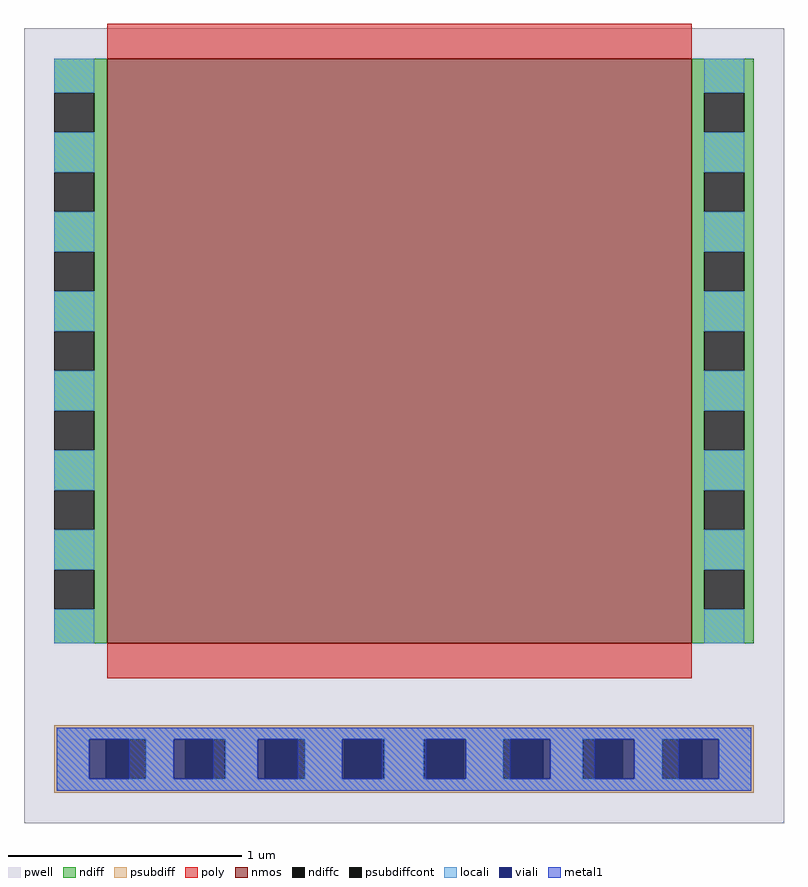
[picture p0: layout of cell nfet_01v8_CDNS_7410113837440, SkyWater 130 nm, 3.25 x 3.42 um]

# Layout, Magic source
magic
tech sky130A
magscale 1 2
<< pwell >>
rect -71 -154 579 526
<< nmos >>
rect 0 0 500 500
<< ndiff >>
rect -45 471 0 500
rect -11 437 0 471
rect -45 403 0 437
rect -11 369 0 403
rect -45 335 0 369
rect -11 301 0 335
rect -45 267 0 301
rect -11 233 0 267
rect -45 199 0 233
rect -11 165 0 199
rect -45 131 0 165
rect -11 97 0 131
rect -45 63 0 97
rect -11 29 0 63
rect -45 0 0 29
rect 500 471 553 500
rect 500 437 511 471
rect 545 437 553 471
rect 500 403 553 437
rect 500 369 511 403
rect 545 369 553 403
rect 500 335 553 369
rect 500 301 511 335
rect 545 301 553 335
rect 500 267 553 301
rect 500 233 511 267
rect 545 233 553 267
rect 500 199 553 233
rect 500 165 511 199
rect 545 165 553 199
rect 500 131 553 165
rect 500 97 511 131
rect 545 97 553 131
rect 500 63 553 97
rect 500 29 511 63
rect 545 29 553 63
rect 500 0 553 29
<< ndiffc >>
rect -45 437 -11 471
rect -45 369 -11 403
rect -45 301 -11 335
rect -45 233 -11 267
rect -45 165 -11 199
rect -45 97 -11 131
rect -45 29 -11 63
rect 511 437 545 471
rect 511 369 545 403
rect 511 301 545 335
rect 511 233 545 267
rect 511 165 545 199
rect 511 97 545 131
rect 511 29 545 63
<< psubdiff >>
rect -45 -82 553 -70
rect -45 -116 -1 -82
rect 33 -116 67 -82
rect 101 -116 135 -82
rect 169 -116 203 -82
rect 237 -116 271 -82
rect 305 -116 339 -82
rect 373 -116 407 -82
rect 441 -116 475 -82
rect 509 -116 553 -82
rect -45 -128 553 -116
<< psubdiffcont >>
rect -1 -116 33 -82
rect 67 -116 101 -82
rect 135 -116 169 -82
rect 203 -116 237 -82
rect 271 -116 305 -82
rect 339 -116 373 -82
rect 407 -116 441 -82
rect 475 -116 509 -82
<< poly >>
rect 0 500 500 530
rect 0 -30 500 0
<< locali >>
rect -45 471 -11 500
rect -45 403 -11 437
rect -45 335 -11 369
rect -45 267 -11 301
rect -45 199 -11 233
rect -45 131 -11 165
rect -45 63 -11 97
rect -45 0 -11 29
rect 511 471 545 500
rect 511 403 545 437
rect 511 335 545 369
rect 511 267 545 301
rect 511 199 545 233
rect 511 131 545 165
rect 511 63 545 97
rect 511 0 545 29
rect -43 -82 551 -72
rect -43 -116 -15 -82
rect 33 -116 57 -82
rect 101 -116 129 -82
rect 169 -116 201 -82
rect 237 -116 271 -82
rect 307 -116 339 -82
rect 379 -116 407 -82
rect 451 -116 475 -82
rect 523 -116 551 -82
rect -43 -126 551 -116
<< viali >>
rect -15 -116 -1 -82
rect -1 -116 19 -82
rect 57 -116 67 -82
rect 67 -116 91 -82
rect 129 -116 135 -82
rect 135 -116 163 -82
rect 201 -116 203 -82
rect 203 -116 235 -82
rect 273 -116 305 -82
rect 305 -116 307 -82
rect 345 -116 373 -82
rect 373 -116 379 -82
rect 417 -116 441 -82
rect 441 -116 451 -82
rect 489 -116 509 -82
rect 509 -116 523 -82
<< metal1 >>
rect -43 -82 551 -72
rect -43 -116 -15 -82
rect 19 -116 57 -82
rect 91 -116 129 -82
rect 163 -116 201 -82
rect 235 -116 273 -82
rect 307 -116 345 -82
rect 379 -116 417 -82
rect 451 -116 489 -82
rect 523 -116 551 -82
rect -43 -126 551 -116
<< end >>
